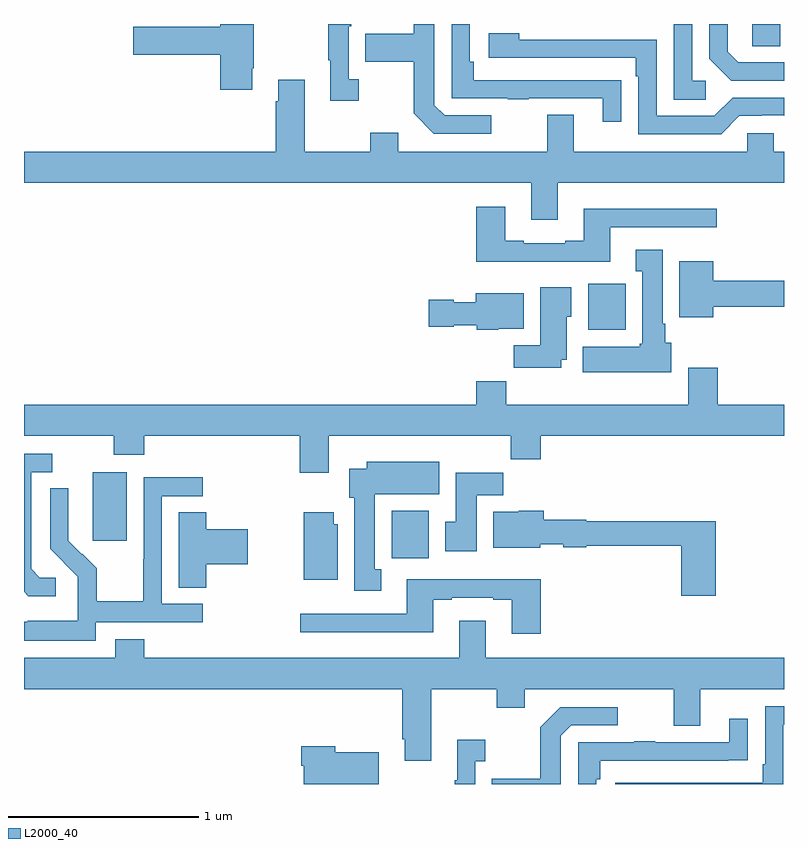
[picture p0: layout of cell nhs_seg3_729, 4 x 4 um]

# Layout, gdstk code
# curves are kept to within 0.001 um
import gdstk
lib = gdstk.Library(unit=1e-6, precision=1e-09)
def R(c, l, rs):  # rectangles x0, y0, x1, y1
    for r in rs: c.add(gdstk.rectangle(r[:2], r[2:], *l))
def P(c, l, *ps):  # polygons
    for p in ps: c.add(gdstk.Polygon(p, *l))
L2000_40 = (2000, 40)

nhs_seg3_729 = lib.new_cell('nhs_seg3_729')
R(nhs_seg3_729, L2000_40, [(148.935,717.588,149.131,717.838), (147.362,717.681,147.541,718.042), (149.969,718.79,150.166,719.032), (150.834,720.283,150.979,720.4)])
P(nhs_seg3_729, L2000_40, [(150.143,720.104),(150.041,720.104),(150.041,720.105),(149.366,720.105),(149.366,720.202),(149.346,720.202),(149.346,720.4),(149.25,720.4),(149.25,720.009),(149.545,720.009),(149.545,720.004),(149.657,720.004),(149.657,720.009),(150.047,720.009),(150.047,719.886),(150.143,719.886)],
  [(149.458,719.919),(149.214,719.919),(149.16,719.973),(149.16,720.4),(149.052,720.4),(149.052,720.349),(148.795,720.349),(148.795,720.202),(149.052,720.202),(149.052,719.929),(149.157,719.823),(149.458,719.823)],
  [(151,720.198),(150.76,720.198),(150.703,720.255),(150.703,720.4),(150.606,720.4),(150.606,720.218),(150.722,720.102),(151,720.102)],
  [(148.762,720.11),(148.71,720.11),(148.71,720.389),(148.723,720.389),(148.723,720.4),(148.602,720.4),(148.602,720.209),(148.613,720.209),(148.613,719.997),(148.762,719.997)],
  [(148.201,720.166),(148.209,720.166),(148.209,720.4),(148.034,720.4),(148.034,720.386),(147.576,720.386),(147.576,720.239),(148.034,720.239),(148.034,720.054),(148.201,720.054)],
  [(150.589,720.102),(150.516,720.102),(150.516,720.4),(150.42,720.4),(150.42,720.001),(150.589,720.001)],
  [(150.765,719.916),(150.884,719.916),(150.884,719.919),(151,719.918),(151,720.012),(150.729,720.012),(150.633,719.916),(150.33,719.916),(150.33,720.318),(149.606,720.318),(149.606,720.352),(149.445,720.352),(149.445,720.222),(150.221,720.222),(150.221,720.125),(150.234,720.125),(150.234,719.82),(150.669,719.82)],
  [(149.809,719.564),(151,719.564),(151,719.728),(150.945,719.728),(150.945,719.826),(150.807,719.826),(150.807,719.728),(149.893,719.728),(149.893,719.923),(149.753,719.923),(149.753,719.728),(148.969,719.728),(148.969,719.827),(148.822,719.827),(148.822,719.728),(148.477,719.728),(148.477,720.106),(148.337,720.106),(148.337,719.993),(148.325,719.993),(148.325,719.728),(147,719.728),(147,719.564),(149.669,719.564),(149.669,719.37),(149.809,719.37)],
  [(150.085,719.331),(150.646,719.331),(150.646,719.428),(149.945,719.428),(149.945,719.26),(149.849,719.26),(149.849,719.247),(149.629,719.247),(149.629,719.26),(149.533,719.26),(149.533,719.437),(149.381,719.437),(149.381,719.15),(150.085,719.15)],
  [(150.406,718.722),(150.376,718.722),(150.376,718.822),(150.361,718.822),(150.361,719.212),(150.221,719.212),(150.221,719.099),(150.254,719.099),(150.254,718.716),(150.241,718.716),(150.241,718.702),(149.942,718.702),(149.942,718.568),(150.406,718.568)],
  [(150.628,718.912),(151,718.912),(151,719.048),(150.628,719.048),(150.628,719.152),(150.449,719.152),(150.449,718.856),(150.628,718.856)],
  [(149.827,718.634),(149.857,718.634),(149.857,718.86),(149.881,718.86),(149.881,719.014),(149.717,719.014),(149.717,718.708),(149.578,718.708),(149.578,718.59),(149.827,718.59)],
  [(149.496,718.796),(149.629,718.796),(149.629,718.984),(149.378,718.984),(149.378,718.936),(149.262,718.936),(149.262,718.949),(149.13,718.949),(149.13,718.807),(149.262,718.807),(149.262,718.814),(149.382,718.814),(149.382,718.79),(149.496,718.79)],
  [(148.603,718.232),(149.563,718.232),(149.563,718.108),(149.72,718.108),(149.72,718.232),(151,718.232),(151,718.396),(150.65,718.396),(150.65,718.591),(150.497,718.591),(150.497,718.396),(149.537,718.396),(149.537,718.52),(149.381,718.52),(149.381,718.396),(147,718.396),(147,718.232),(147.472,718.232),(147.472,718.133),(147.632,718.133),(147.632,718.232),(148.451,718.232),(148.451,718.038),(148.603,718.038)],
  [(147.166,717.486),(147.084,717.486),(147.037,717.533),(147.037,718.041),(147.148,718.041),(147.148,718.137),(147,718.137),(147,717.411),(147.022,717.389),(147.166,717.389)],
  [(148.879,717.529),(148.846,717.529),(148.846,717.926),(149.185,717.926),(149.185,718.096),(148.805,718.096),(148.805,718.06),(148.712,718.06),(148.712,717.906),(148.739,717.906),(148.739,717.417),(148.879,717.417)],
  [(149.383,717.92),(149.522,717.92),(149.522,718.038),(149.273,718.038),(149.273,717.78),(149.216,717.78),(149.216,717.624),(149.383,717.624)],
  [(147.378,717.252),(147.94,717.252),(147.94,717.348),(147.726,717.348),(147.726,717.915),(147.94,717.915),(147.94,718.014),(147.63,718.014),(147.63,717.584),(147.628,717.584),(147.628,717.361),(147.383,717.361),(147.383,717.535),(147.306,717.612),(147.303,717.609),(147.233,717.68),(147.234,717.956),(147.138,717.956),(147.138,717.638),(147.284,717.49),(147.284,717.393),(147.282,717.393),(147.282,717.259),(147.019,717.259),(147.019,717.255),(147,717.255),(147,717.155),(147.378,717.155)],
  [(150.641,717.784),(149.958,717.784),(149.958,717.792),(149.735,717.792),(149.735,717.838),(149.604,717.838),(149.604,717.832),(149.471,717.832),(149.471,717.644),(149.718,717.644),(149.718,717.662),(149.838,717.662),(149.838,717.647),(149.958,717.647),(149.958,717.655),(150.458,717.655),(150.458,717.39),(150.641,717.39)],
  [(147.959,717.557),(148.177,717.557),(148.177,717.74),(147.959,717.74),(147.959,717.83),(147.815,717.83),(147.815,717.433),(147.959,717.433)],
  [(148.651,717.768),(148.63,717.768),(148.63,717.829),(148.472,717.829),(148.472,717.476),(148.651,717.476)],
  [(149.72,717.478),(149.015,717.478),(149.015,717.297),(148.455,717.297),(148.455,717.2),(149.155,717.2),(149.155,717.369),(149.251,717.369),(149.251,717.381),(149.471,717.381),(149.471,717.369),(149.567,717.369),(149.567,717.192),(149.72,717.192)],
  [(149.143,716.9),(149.488,716.9),(149.488,716.801),(149.635,716.801),(149.635,716.9),(150.419,716.9),(150.419,716.706),(150.559,716.706),(150.559,716.9),(151,716.9),(151,717.064),(149.431,717.064),(149.431,717.259),(149.291,717.259),(149.291,717.064),(147.632,717.064),(147.632,717.163),(147.479,717.163),(147.479,717.064),(147,717.064),(147,716.9),(148.991,716.9),(148.991,716.635),(149.003,716.635),(149.003,716.523),(149.143,716.523)],
  [(150.996,716.712),(151,716.712),(151,716.808),(150.9,716.808),(150.9,716.503),(150.887,716.503),(150.887,716.406),(150.111,716.406),(150.111,716.4),(150.996,716.4)],
  [(149.826,716.655),(149.88,716.709),(150.124,716.709),(150.124,716.805),(149.823,716.805),(149.718,716.699),(149.718,716.427),(149.461,716.427),(149.461,716.4),(149.826,716.4)],
  [(150.012,716.426),(150.032,716.426),(150.032,716.523),(150.707,716.523),(150.707,716.524),(150.809,716.524),(150.809,716.743),(150.713,716.743),(150.713,716.619),(150.323,716.619),(150.323,716.624),(150.211,716.624),(150.211,716.619),(149.916,716.619),(149.916,716.4),(150.012,716.4)],
  [(149.376,716.519),(149.428,716.519),(149.428,716.632),(149.279,716.632),(149.279,716.419),(149.268,716.419),(149.268,716.4),(149.376,716.4)],
  [(148.867,716.566),(148.638,716.566),(148.638,716.599),(148.46,716.599),(148.46,716.495),(148.472,716.495),(148.472,716.4),(148.867,716.4)])

lib.write_gds('nhs_seg3_729.gds')
